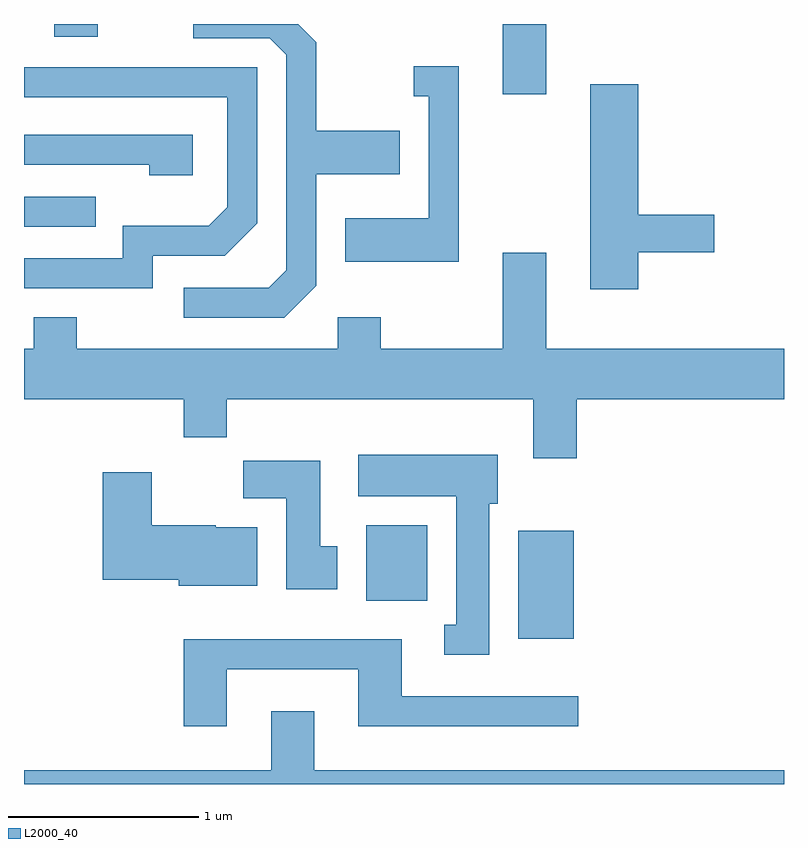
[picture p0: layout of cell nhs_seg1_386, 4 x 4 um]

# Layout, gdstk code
import gdstk
lib = gdstk.Library(unit=1e-6, precision=1e-09)
def R(c, l, rs):  # rectangles x0, y0, x1, y1
    for r in rs: c.add(gdstk.rectangle(r[:2], r[2:], *l))
def P(c, l, *ps):  # polygons
    for p in ps: c.add(gdstk.Polygon(p, *l))
L2000_40 = (2000, 40)

nhs_seg1_386 = lib.new_cell('nhs_seg1_386')
R(nhs_seg1_386, L2000_40, [(198.211,960.476,198.504,961.044), (197.411,960.676,197.734,961.074), (195.611,962.646,195.988,962.804), (198.131,963.341,198.359,963.712), (195.771,963.646,195.999,963.712)])
P(nhs_seg1_386, L2000_40, [(197.149,962.334),(197.149,962.921),(197.589,962.921),(197.589,963.149),(197.149,963.149),(197.149,963.617),(197.054,963.712),(196.503,963.712),(196.503,963.636),(196.904,963.636),(196.991,963.549),(196.991,962.417),(196.899,962.324),(196.453,962.324),(196.453,962.166),(196.982,962.166)],
  [(197.899,963.489),(197.663,963.489),(197.663,963.331),(197.741,963.331),(197.741,962.689),(197.301,962.689),(197.301,962.461),(197.899,962.461)],
  [(196.289,962.491),(196.667,962.491),(196.839,962.664),(196.839,963.484),(195.611,963.484),(195.611,963.326),(196.681,963.326),(196.681,962.747),(196.584,962.649),(196.131,962.649),(196.131,962.479),(195.611,962.479),(195.611,962.321),(196.289,962.321)],
  [(198.844,962.511),(199.244,962.511),(199.244,962.709),(198.844,962.709),(198.844,963.394),(198.591,963.394),(198.591,962.316),(198.844,962.316)],
  [(196.499,963.129),(195.611,963.129),(195.611,962.971),(196.271,962.971),(196.271,962.916),(196.499,962.916)],
  [(198.519,961.736),(199.611,961.736),(199.611,962.004),(198.359,962.004),(198.359,962.509),(198.131,962.509),(198.131,962.004),(197.489,962.004),(197.489,962.169),(197.261,962.169),(197.261,962.004),(195.889,962.004),(195.889,962.169),(195.661,962.169),(195.661,962.004),(195.611,962.004),(195.611,961.736),(196.451,961.736),(196.451,961.536),(196.679,961.536),(196.679,961.736),(198.291,961.736),(198.291,961.426),(198.519,961.426)],
  [(198.059,961.186),(198.104,961.186),(198.104,961.444),(197.371,961.444),(197.371,961.226),(197.886,961.226),(197.886,960.549),(197.823,960.549),(197.823,960.391),(198.059,960.391)],
  [(197.259,960.964),(197.169,960.964),(197.169,961.414),(196.766,961.414),(196.766,961.216),(196.991,961.216),(196.991,960.736),(197.259,960.736)],
  [(196.839,961.064),(196.62,961.064),(196.62,961.074),(196.284,961.074),(196.284,961.354),(196.026,961.354),(196.026,960.786),(196.426,960.786),(196.426,960.756),(196.839,960.756)],
  [(196.679,960.316),(197.371,960.316),(197.371,960.016),(198.528,960.016),(198.528,960.174),(197.599,960.174),(197.599,960.474),(196.451,960.474),(196.451,960.016),(196.679,960.016)],
  [(199.611,959.784),(197.139,959.784),(197.139,960.094),(196.911,960.094),(196.911,959.784),(195.611,959.784),(195.611,959.712),(199.611,959.712)])

lib.write_gds('nhs_seg1_386.gds')
